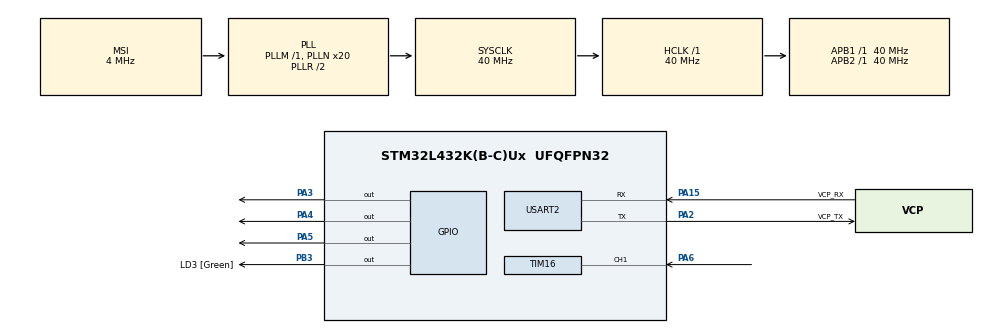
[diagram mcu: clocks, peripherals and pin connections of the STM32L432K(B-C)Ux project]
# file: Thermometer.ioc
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Mcu.Family=STM32L4
Mcu.Name=STM32L432K(B-C)Ux
Mcu.Package=UFQFPN32
NVIC.PriorityGroup=NVIC_PRIORITYGROUP_4
NVIC.RTC_WKUP_IRQn=true\:0\:0\:false\:false\:true\:true\:true\:true
NVIC.TIM1_UP_TIM16_IRQn=true\:0\:0\:false\:false\:true\:true\:true\:true
PA0.GPIO_Label=MCO [High speed clock in]
PA0.Mode=HSE-External-Clock-Source-for-LittleOrca
PA0.Signal=RCC_CK_IN
PA13\ (JTMS-SWDIO).GPIO_Label=SWDIO
PA13\ (JTMS-SWDIO).Mode=Serial_Wire
PA13\ (JTMS-SWDIO).Signal=SYS_JTMS-SWDIO
PA14\ (JTCK-SWCLK).GPIO_Label=SWCLK
PA14\ (JTCK-SWCLK).Mode=Serial_Wire
PA14\ (JTCK-SWCLK).Signal=SYS_JTCK-SWCLK
PA15\ (JTDI).GPIO_Label=VCP_RX
PA15\ (JTDI).Mode=Asynchronous
PA15\ (JTDI).Signal=USART2_RX
PA2.GPIO_Label=VCP_TX
PA2.Mode=Asynchronous
PA2.Signal=USART2_TX
PA3.Signal=GPIO_Output
PA4.Signal=GPIO_Output
PA5.Signal=GPIO_Output
PA6.Signal=S_TIM16_CH1
PB3\ (JTDO-TRACESWO).GPIO_Label=LD3 [Green]
PB3\ (JTDO-TRACESWO).Signal=GPIO_Output
PC14-OSC32_IN\ (PC14).Mode=LSE-External-Oscillator
PC14-OSC32_IN\ (PC14).Signal=RCC_OSC32_IN
PC15-OSC32_OUT\ (PC15).Mode=LSE-External-Oscillator
PC15-OSC32_OUT\ (PC15).Signal=RCC_OSC32_OUT
ProjectManager.HeapSize=0x200
ProjectManager.StackSize=0x400
ProjectManager.TargetToolchain=STM32CubeIDE
RCC.AHBFreq_Value=40000000
RCC.APB1Freq_Value=40000000
RCC.APB1TimFreq_Value=40000000
RCC.APB2Freq_Value=40000000
RCC.APB2TimFreq_Value=40000000
RCC.CortexFreq_Value=40000000
RCC.HCLKFreq_Value=40000000
RCC.HSE_VALUE=8000000
RCC.HSI16_VALUE=16000000
RCC.HSI48_VALUE=48000000
RCC.HSI_VALUE=16000000
RCC.MSI_VALUE=4000000
RCC.PLLMUL=RCC_PLLMUL_4
RCC.PLLN=20
RCC.RTCClockSelection=RCC_RTCCLKSOURCE_LSE
RCC.SYSCLKFreq_VALUE=40000000
RCC.SYSCLKSource=RCC_SYSCLKSOURCE_PLLCLK
RCC.VCOOutputFreq_Value=80000000
RTC.WakeUpCounter=0x500B
SH.S_TIM16_CH1.0=TIM16_CH1,Input_Capture1_from_TI1
TIM16.Channel=TIM_CHANNEL_1
TIM16.ICPolarity_CH1=TIM_INPUTCHANNELPOLARITY_BOTHEDGE
TIM6.Prescaler=39
USART2.VirtualMode-Asynchronous=VM_ASYNC
VP_RTC_VS_RTC_Activate.Mode=RTC_Enabled
VP_RTC_VS_RTC_WakeUp_intern.Mode=WakeUp
VP_TIM16_VS_ClockSourceINT.Mode=Enable_Timer
VP_TIM6_VS_ClockSourceINT.Mode=Enable_Timer
board=NUCLEO-L432KC

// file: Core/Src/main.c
/* USER CODE BEGIN Header */
/**
  ******************************************************************************
  * @file           : main.c
  * @brief          : Main program body
  ******************************************************************************
  * @attention
  *
  * Copyright (c) 2024 STMicroelectronics.
  * All rights reserved.
  *
  * This software is licensed under terms that can be found in the LICENSE file
  * in the root directory of this software component.
  * If no LICENSE file comes with this software, it is provided AS-IS.
  *
  ******************************************************************************
  */
/* USER CODE END Header */
#include "main.h"

/* USER CODE BEGIN Includes */
#include <string.h>
#include <stdio.h>
#include <stdbool.h>
#include <math.h>
#include "circular_buffer.h"
// #include "circular_buffer.h"
/* USER CODE END Includes */

/* USER CODE BEGIN PTD */
typedef struct {
	float humidity;
	float temperature;
} SensorResults;
/* USER CODE END PTD */

/* USER CODE BEGIN PD */
#define LOW_PERIOD 27
#define HIGH_PERIOD 70

#define DISPLAY_DATA_PIN GPIO_PIN_5
#define DISPLAY_LATCH_PIN GPIO_PIN_3
#define DISPLAY_CLOCK_PIN GPIO_PIN_4

#define SENSOR_DATA_PIN GPIO_PIN_6

int digits[10][8] = {
	{1, 1, 1, 0, 1, 1, 1, 0}, // 0
	{0, 0, 1, 0, 1, 0, 0, 0}, // 1
	{1, 1, 0, 0, 1, 1, 0, 1}, // 2
	{0, 1, 1, 0, 1, 1, 0, 1}, // 3
	{0, 0, 1, 0, 1, 0, 1, 1}, // 4
	{0, 1, 1, 0, 0, 1, 1, 1}, // 5
	{1, 1, 1, 0, 0, 1, 1, 1}, // 6
	{0, 0, 1, 0, 1, 1, 0, 0}, // 7
	{1, 1, 1, 0, 1, 1, 1, 1}, // 8
	{0, 1, 1, 0, 1, 1, 1, 1}  // 9
};
/* USER CODE END PD */

RTC_HandleTypeDef hrtc;

TIM_HandleTypeDef htim6;
TIM_HandleTypeDef htim16;

UART_HandleTypeDef huart2;

/* USER CODE BEGIN PV */
Capture capture = {0};
uint8_t firstCaptureDone = 0;
CircularBuffer circularBuffer = {0};
/* USER CODE END PV */

void SystemClock_Config(void);
static void MX_GPIO_Init(void);
static void MX_USART2_UART_Init(void);
static void MX_TIM16_Init(void);
static void MX_TIM6_Init(void);
static void MX_RTC_Init(void);
/* USER CODE BEGIN PFP */
void delayUs(uint32_t us);
void delayMs(uint32_t ms);
uint16_t getPeriodInUs(uint16_t start, uint16_t end);
bool isBetween(uint16_t val, uint16_t first, uint16_t second);
SensorResults processSensorReadings();
void sendStartSignal();
void setPinToWriteMode();
void setPinToReadMode();
void goToSleep();
void displayResults();
/* USER CODE END PFP */

int main(void)
{

  /* MCU Configuration--------------------------------------------------------*/

  /* Reset of all peripherals, Initializes the Flash interface and the Systick. */
  HAL_Init();

  /* Configure the system clock */
  SystemClock_Config();

  /* Initialize all configured peripherals */
  MX_GPIO_Init();
  MX_USART2_UART_Init();
  MX_TIM16_Init();
  MX_TIM6_Init();
  MX_RTC_Init();
  /* USER CODE BEGIN 2 */
  HAL_TIM_Base_Start(&htim6);
  /* USER CODE END 2 */

  /* Infinite loop */
  /* USER CODE BEGIN WHILE */

  // Wait 1s after startup for sensor to gather data
  HAL_Delay(1000);

  while (1)
  {
  	  // sendStartSignal();

  	  // setPinToReadMode();
  	  // SensorResults readings = processSensorReadings();
	  //HAL_TIM_IC_Stop_IT(&htim16, TIM_CHANNEL_1);

	  displayResults();
	  HAL_Delay(200);

	  // goToSleep();
    /* USER CODE END WHILE */

  }
}

void SystemClock_Config(void)
{
  RCC_OscInitTypeDef RCC_OscInitStruct = {0};
  RCC_ClkInitTypeDef RCC_ClkInitStruct = {0};

  /** Configure the main internal regulator output voltage
  */
  if (HAL_PWREx_ControlVoltageScaling(PWR_REGULATOR_VOLTAGE_SCALE1) != HAL_OK)
  {
    Error_Handler();
  }

  /** Configure LSE Drive Capability
  */
  HAL_PWR_EnableBkUpAccess();
  __HAL_RCC_LSEDRIVE_CONFIG(RCC_LSEDRIVE_LOW);

  /** Initializes the RCC Oscillators according to the specified parameters
  * in the RCC_OscInitTypeDef structure.
  */
  RCC_OscInitStruct.OscillatorType = RCC_OSCILLATORTYPE_LSI|RCC_OSCILLATORTYPE_LSE
                              |RCC_OSCILLATORTYPE_MSI;
  RCC_OscInitStruct.LSEState = RCC_LSE_ON;
  RCC_OscInitStruct.LSIState = RCC_LSI_ON;
  RCC_OscInitStruct.MSIState = RCC_MSI_ON;
  RCC_OscInitStruct.MSICalibrationValue = 0;
  RCC_OscInitStruct.MSIClockRange = RCC_MSIRANGE_6;
  RCC_OscInitStruct.PLL.PLLState = RCC_PLL_ON;
  RCC_OscInitStruct.PLL.PLLSource = RCC_PLLSOURCE_MSI;
  RCC_OscInitStruct.PLL.PLLM = 1;
  RCC_OscInitStruct.PLL.PLLN = 20;
  RCC_OscInitStruct.PLL.PLLP = RCC_PLLP_DIV7;
  RCC_OscInitStruct.PLL.PLLQ = RCC_PLLQ_DIV2;
  RCC_OscInitStruct.PLL.PLLR = RCC_PLLR_DIV2;
  if (HAL_RCC_OscConfig(&RCC_OscInitStruct) != HAL_OK)
  {
    Error_Handler();
  }

  /** Initializes the CPU, AHB and APB buses clocks
  */
  RCC_ClkInitStruct.ClockType = RCC_CLOCKTYPE_HCLK|RCC_CLOCKTYPE_SYSCLK
                              |RCC_CLOCKTYPE_PCLK1|RCC_CLOCKTYPE_PCLK2;
  RCC_ClkInitStruct.SYSCLKSource = RCC_SYSCLKSOURCE_PLLCLK;
  RCC_ClkInitStruct.AHBCLKDivider = RCC_SYSCLK_DIV1;
  RCC_ClkInitStruct.APB1CLKDivider = RCC_HCLK_DIV1;
  RCC_ClkInitStruct.APB2CLKDivider = RCC_HCLK_DIV1;

  if (HAL_RCC_ClockConfig(&RCC_ClkInitStruct, FLASH_LATENCY_2) != HAL_OK)
  {
    Error_Handler();
  }

  /** Enable MSI Auto calibration
  */
  HAL_RCCEx_EnableMSIPLLMode();
}

static void MX_RTC_Init(void)
{

  /** Initialize RTC Only
  */
  hrtc.Instance = RTC;
  hrtc.Init.HourFormat = RTC_HOURFORMAT_24;
  hrtc.Init.AsynchPrediv = 127;
  hrtc.Init.SynchPrediv = 255;
  hrtc.Init.OutPut = RTC_OUTPUT_DISABLE;
  hrtc.Init.OutPutRemap = RTC_OUTPUT_REMAP_NONE;
  hrtc.Init.OutPutPolarity = RTC_OUTPUT_POLARITY_HIGH;
  hrtc.Init.OutPutType = RTC_OUTPUT_TYPE_OPENDRAIN;
  if (HAL_RTC_Init(&hrtc) != HAL_OK)
  {
    Error_Handler();
  }

}

static void MX_TIM6_Init(void)
{

  TIM_MasterConfigTypeDef sMasterConfig = {0};

  htim6.Instance = TIM6;
  htim6.Init.Prescaler = 39;
  htim6.Init.CounterMode = TIM_COUNTERMODE_UP;
  htim6.Init.Period = 65535;
  htim6.Init.AutoReloadPreload = TIM_AUTORELOAD_PRELOAD_DISABLE;
  if (HAL_TIM_Base_Init(&htim6) != HAL_OK)
  {
    Error_Handler();
  }
  sMasterConfig.MasterOutputTrigger = TIM_TRGO_RESET;
  sMasterConfig.MasterSlaveMode = TIM_MASTERSLAVEMODE_DISABLE;
  if (HAL_TIMEx_MasterConfigSynchronization(&htim6, &sMasterConfig) != HAL_OK)
  {
    Error_Handler();
  }

}

static void MX_TIM16_Init(void)
{

  /* USER CODE BEGIN TIM16_Init 0 */
	__HAL_RCC_TIM16_CLK_ENABLE();
  /* USER CODE END TIM16_Init 0 */

  TIM_IC_InitTypeDef sConfigIC = {0};

  htim16.Instance = TIM16;
  htim16.Init.Prescaler = 0;
  htim16.Init.CounterMode = TIM_COUNTERMODE_UP;
  htim16.Init.Period = 65535;
  htim16.Init.ClockDivision = TIM_CLOCKDIVISION_DIV1;
  htim16.Init.RepetitionCounter = 0;
  htim16.Init.AutoReloadPreload = TIM_AUTORELOAD_PRELOAD_DISABLE;
  if (HAL_TIM_Base_Init(&htim16) != HAL_OK)
  {
    Error_Handler();
  }
  if (HAL_TIM_IC_Init(&htim16) != HAL_OK)
  {
    Error_Handler();
  }
  sConfigIC.ICPolarity = TIM_INPUTCHANNELPOLARITY_BOTHEDGE;
  sConfigIC.ICSelection = TIM_ICSELECTION_DIRECTTI;
  sConfigIC.ICPrescaler = TIM_ICPSC_DIV1;
  sConfigIC.ICFilter = 0;
  if (HAL_TIM_IC_ConfigChannel(&htim16, &sConfigIC, TIM_CHANNEL_1) != HAL_OK)
  {
    Error_Handler();
  }

}

static void MX_USART2_UART_Init(void)
{

  huart2.Instance = USART2;
  huart2.Init.BaudRate = 115200;
  huart2.Init.WordLength = UART_WORDLENGTH_8B;
  huart2.Init.StopBits = UART_STOPBITS_1;
  huart2.Init.Parity = UART_PARITY_NONE;
  huart2.Init.Mode = UART_MODE_TX_RX;
  huart2.Init.HwFlowCtl = UART_HWCONTROL_NONE;
  huart2.Init.OverSampling = UART_OVERSAMPLING_16;
  huart2.Init.OneBitSampling = UART_ONE_BIT_SAMPLE_DISABLE;
  huart2.AdvancedInit.AdvFeatureInit = UART_ADVFEATURE_NO_INIT;
  if (HAL_UART_Init(&huart2) != HAL_OK)
  {
    Error_Handler();
  }

}

static void MX_GPIO_Init(void)
{
  GPIO_InitTypeDef GPIO_InitStruct = {0};

  /* GPIO Ports Clock Enable */
  __HAL_RCC_GPIOC_CLK_ENABLE();
  __HAL_RCC_GPIOA_CLK_ENABLE();
  __HAL_RCC_GPIOB_CLK_ENABLE();

  /*Configure GPIO pin Output Level */
  HAL_GPIO_WritePin(GPIOA, GPIO_PIN_3|GPIO_PIN_4|GPIO_PIN_5, GPIO_PIN_RESET);

  /*Configure GPIO pin Output Level */
  HAL_GPIO_WritePin(LD3_GPIO_Port, LD3_Pin, GPIO_PIN_RESET);

  /*Configure GPIO pins : PA3 PA4 PA5 */
  GPIO_InitStruct.Pin = GPIO_PIN_3|GPIO_PIN_4|GPIO_PIN_5;
  GPIO_InitStruct.Mode = GPIO_MODE_OUTPUT_PP;
  GPIO_InitStruct.Pull = GPIO_NOPULL;
  GPIO_InitStruct.Speed = GPIO_SPEED_FREQ_LOW;
  HAL_GPIO_Init(GPIOA, &GPIO_InitStruct);

  /*Configure GPIO pin : LD3_Pin */
  GPIO_InitStruct.Pin = LD3_Pin;
  GPIO_InitStruct.Mode = GPIO_MODE_OUTPUT_PP;
  GPIO_InitStruct.Pull = GPIO_NOPULL;
  GPIO_InitStruct.Speed = GPIO_SPEED_FREQ_LOW;
  HAL_GPIO_Init(LD3_GPIO_Port, &GPIO_InitStruct);

}

/* USER CODE BEGIN 4 */

void delayUs(uint32_t us)
{
	htim6.Instance->CNT = 0;
	while(htim6.Instance->CNT < us);
}

void delayMs(uint32_t ms)
{
	for(int i = 0; i < ms; ++i)
		delayUs(1000);
}

void setPinToWriteMode()
{
  GPIO_InitTypeDef GPIO_InitStruct = {0};
  HAL_GPIO_WritePin(GPIOA, GPIO_PIN_6, GPIO_PIN_RESET);

  GPIO_InitStruct.Pin = GPIO_PIN_6;
  GPIO_InitStruct.Mode = GPIO_MODE_OUTPUT_OD;
  GPIO_InitStruct.Pull = GPIO_NOPULL;
  GPIO_InitStruct.Speed = GPIO_SPEED_FREQ_LOW;
  HAL_GPIO_Init(GPIOA, &GPIO_InitStruct);
}

void setPinToReadMode()
{
  GPIO_InitTypeDef GPIO_InitStruct = {0};
  HAL_GPIO_WritePin(GPIOA, GPIO_PIN_6, RESET);

  GPIO_InitStruct.Pin = GPIO_PIN_6;
  GPIO_InitStruct.Mode = GPIO_MODE_AF_PP;
  GPIO_InitStruct.Pull = GPIO_NOPULL;
  GPIO_InitStruct.Speed = GPIO_SPEED_FREQ_LOW;
  GPIO_InitStruct.Alternate = GPIO_AF14_TIM16;
  HAL_GPIO_Init(GPIOA, &GPIO_InitStruct);
  HAL_TIM_IC_Start_IT(&htim16, TIM_CHANNEL_1);
}

void sendStartSignal()
{
  setPinToWriteMode();
  HAL_GPIO_WritePin(GPIOA, GPIO_PIN_6, RESET);
  delayMs(6);
  HAL_GPIO_WritePin(GPIOA, GPIO_PIN_6, SET);
  delayUs(20);
}

uint16_t getPeriodInUs(uint16_t start, uint16_t end)
{
	uint16_t period;
	if(end >= start)
	  period = end - start;
	else
	  period = (htim16.Instance->ARR - start) + end;

	uint32_t frequency = HAL_RCC_GetPCLK1Freq() / (htim16.Instance->PSC + 1);
	uint16_t timeInUs = roundf((float)period / frequency * 1000000.0f);
	return timeInUs;
}

bool isBetween(uint16_t val, uint16_t first, uint16_t second)
{
	return val >= first && val <= second;
}

void goToSleep()
{
  HAL_SuspendTick();
  HAL_RTCEx_SetWakeUpTimer_IT(&hrtc, 0x500B, RTC_WAKEUPCLOCK_RTCCLK_DIV16);
  HAL_PWREx_EnterSTOP2Mode(PWR_STOPENTRY_WFI);
  HAL_RTCEx_DeactivateWakeUpTimer(&hrtc);
  SystemClock_Config();
  HAL_ResumeTick();
}

SensorResults processSensorReadings()
{
  uint16_t humidityBits = 0;
  uint16_t temperatureBits = 0;
  uint8_t currentBit = 0;
  while (currentBit != 40)
  {
	  if(circularBufferIsEmpty(&circularBuffer))
		  continue;

	  Capture curr = circularBufferFirst(&circularBuffer);
	  if(curr.level == CAPTURE_TYPE_LOW)
		  continue; // Low signal indicates the start of the transmission -> Skip

	  uint16_t period = getPeriodInUs(curr.start, curr.end);
	  if(isBetween(period, HIGH_PERIOD - 5, HIGH_PERIOD + 5))
	  {
		  if(currentBit < 16)
			  humidityBits |= (1 << (15 - currentBit));
		  else if(currentBit >= 16 && currentBit <= 31)
			  temperatureBits |= (1 << (15 - (currentBit - 16)));

		  ++currentBit;
	  }
	  else if(isBetween(period, LOW_PERIOD - 5, LOW_PERIOD + 5))
		  ++currentBit;
  }

  return (SensorResults) {
	  .temperature = temperatureBits / 10.0f,
	  .humidity = humidityBits / 10.0f
  };
}

void displayResults(/*SensorResults results*/)
{
	for(int i = 0; i <= 9; ++i)
	{
		HAL_GPIO_WritePin(GPIOA, DISPLAY_LATCH_PIN, RESET);
		for(int k = 7; k >= 0; --k)
		{
			HAL_GPIO_WritePin(GPIOA, DISPLAY_CLOCK_PIN, RESET);
			delayUs(20);
			HAL_GPIO_WritePin(GPIOA, DISPLAY_DATA_PIN, digits[i][k]);
			delayUs(20);
			HAL_GPIO_WritePin(GPIOA, DISPLAY_CLOCK_PIN, SET);
		}
		HAL_GPIO_WritePin(GPIOA, DISPLAY_LATCH_PIN, SET);
		HAL_Delay(800);
	}
}

void HAL_TIM_IC_CaptureCallback(TIM_HandleTypeDef *htim)
{
    if (htim->Instance == TIM16)
    {
        if (htim->Channel == HAL_TIM_ACTIVE_CHANNEL_1)
        {
        	if(!firstCaptureDone)
        	{
        		capture.start = HAL_TIM_ReadCapturedValue(htim, TIM_CHANNEL_1);
        		capture.level = HAL_GPIO_ReadPin(GPIOA, GPIO_PIN_6) ? CAPTURE_TYPE_HIGH : CAPTURE_TYPE_LOW;
        		firstCaptureDone = 1;
        	}
        	else
        	{
				capture.end = HAL_TIM_ReadCapturedValue(htim, TIM_CHANNEL_1);
				circularBufferAdd(&circularBuffer, &capture);

				// Set the end of the previous capture as the start of the next capture
				capture.start = capture.end;
				capture.level = HAL_GPIO_ReadPin(GPIOA, GPIO_PIN_6) ? CAPTURE_TYPE_HIGH : CAPTURE_TYPE_LOW;
        	}
        }
    }
}

/* USER CODE END 4 */

void Error_Handler(void)
{
  __disable_irq();
  while (1)
  {
  }
}
